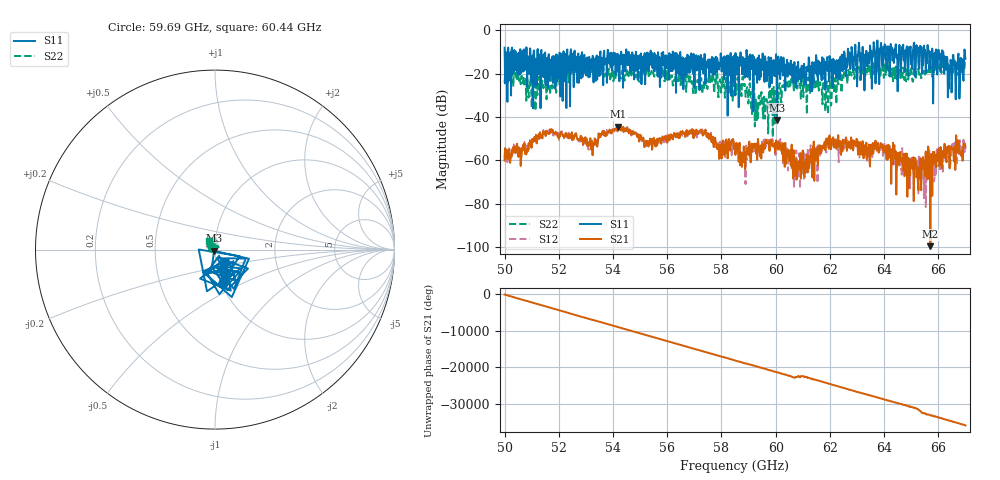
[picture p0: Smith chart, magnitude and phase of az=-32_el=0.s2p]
!Created with skrf (http://scikit-rf.org).
# GHz S RI R 50.0
!freq ReS11 ImS11 ReS21 ImS21 ReS12 ImS12 ReS22 ImS22
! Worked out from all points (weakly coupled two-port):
!   1001 points, 50 GHz to 67 GHz, reference 50 ohm
!   highest |S21| = -44.48 dB at 54.2 GHz (marker M1); lowest = -99.7 dB at 65.71 GHz (marker M2)
!   lowest |S11| = -41.4 dB at 60.05 GHz (marker M3), VSWR 1.02, Z = 49.5 - j0.654 ohm
!   |S11| at or under -10 dB: 52.59 GHz to 53.53 GHz (946.7 MHz wide, 1.78 % of centre); 56.48 GHz to 58.92 GHz (2.446 GHz wide, 4.24 % of centre); 58.93 GHz to 62.53 GHz (3.599 GHz wide, 5.93 % of centre) (the widest 3 of 65)
!   |S22| runs from -49.4 to -13.3 dB; largest |S21 - S12| = 0.0022
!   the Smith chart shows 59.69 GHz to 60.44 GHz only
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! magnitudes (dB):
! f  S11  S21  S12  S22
! 50 GHz  -7.9  -60.1  -58.7  -24.2
! 50.15 GHz  -23.2  -56.0  -56.3  -20.5
! 51.07 GHz  -9.6  -50.4  -50.6  -25.6
! 51.7 GHz  -16.7  -47.3  -46.3  -24.1
! 52.84 GHz  -11.2  -50.9  -49.0  -19.5
! 54.2 GHz  -15.3  -44.5  -45.8  -19.5
! 55.68 GHz  -13.7  -51.3  -52.0  -21.4
! 57.31 GHz  -16.2  -48.5  -47.7  -26.5
! 58.5 GHz  -30.0  -53.4  -53.3  -23.5
! 58.81 GHz  -15.9  -60.9  -57.2  -23.5
! 59.32 GHz  -24.2  -59.8  -54.0  -33.8
! 60.05 GHz  -41.4  -52.4  -51.6  -29.5
! 60.76 GHz  -26.3  -59.4  -55.4  -27.1
! 61.34 GHz  -28.1  -56.9  -58.4  -26.9
! 61.93 GHz  -18.8  -49.7  -53.5  -38.9
! 64.18 GHz  -11.9  -53.6  -56.7  -17.4
! 65.28 GHz  -17.5  -63.7  -58.2  -19.3
! 65.47 GHz  -7.0  -61.2  -77.6  -18.8
! 65.71 GHz  -17.1  -99.7  -70.4  -19.3
! 66.23 GHz  -12.0  -52.4  -55.8  -15.4
! 66.44 GHz  -19.1  -55.0  -62.1  -16.4
! 67 GHz  -13.2  -53.8  -55.1  -14.4
